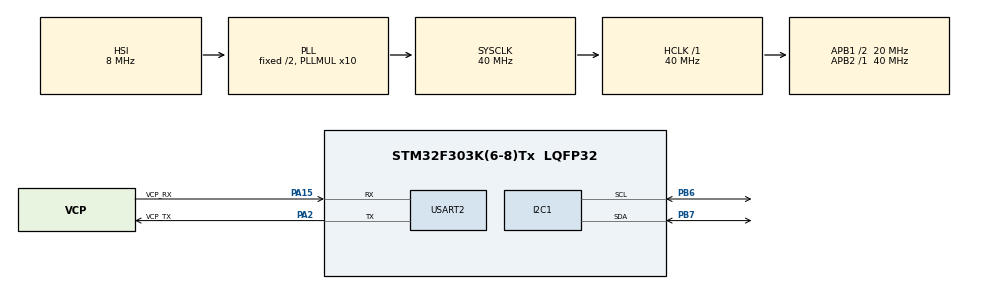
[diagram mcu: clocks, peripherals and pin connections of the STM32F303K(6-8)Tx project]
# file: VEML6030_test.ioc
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Mcu.Family=STM32F3
Mcu.Name=STM32F303K(6-8)Tx
Mcu.Package=LQFP32
NVIC.PriorityGroup=NVIC_PRIORITYGROUP_4
PA13.GPIO_Label=SWDIO
PA13.Mode=Serial_Wire
PA13.Signal=SYS_JTMS-SWDIO
PA14.GPIO_Label=SWCLK
PA14.Mode=Serial_Wire
PA14.Signal=SYS_JTCK-SWCLK
PA15.GPIO_Label=VCP_RX
PA15.Mode=Asynchronous
PA15.Signal=USART2_RX
PA2.GPIO_Label=VCP_TX
PA2.Mode=Asynchronous
PA2.Signal=USART2_TX
PB6.Mode=I2C
PB6.Signal=I2C1_SCL
PB7.Mode=I2C
PB7.Signal=I2C1_SDA
PF0\ /\ OSC_IN.GPIO_Label=MCO
PF0\ /\ OSC_IN.Mode=HSE-External-Clock-Source
PF0\ /\ OSC_IN.Signal=RCC_OSC_IN
ProjectManager.HeapSize=0x200
ProjectManager.StackSize=0x400
ProjectManager.TargetToolchain=STM32CubeIDE
RCC.AHBFreq_Value=40000000
RCC.APB1CLKDivider=RCC_HCLK_DIV2
RCC.APB1Freq_Value=20000000
RCC.APB1TimFreq_Value=40000000
RCC.APB2Freq_Value=40000000
RCC.APB2TimFreq_Value=40000000
RCC.CortexFreq_Value=40000000
RCC.HCLKFreq_Value=40000000
RCC.HSE_VALUE=8000000
RCC.HSI_VALUE=8000000
RCC.PLLMUL=RCC_PLL_MUL10
RCC.SYSCLKFreq_VALUE=40000000
RCC.SYSCLKSourceVirtual=RCC_SYSCLKSOURCE_PLLCLK
USART2.VirtualMode-Asynchronous=VM_ASYNC
board=NUCLEO-F303K8

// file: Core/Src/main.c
/* USER CODE BEGIN Header */
/**
 ******************************************************************************
 * @file           : main.c
 * @brief          : Main program body
 ******************************************************************************
 * @attention
 *
 * Copyright (c) 2024 STMicroelectronics.
 * All rights reserved.
 *
 * This software is licensed under terms that can be found in the LICENSE file
 * in the root directory of this software component.
 * If no LICENSE file comes with this software, it is provided AS-IS.
 *
 ******************************************************************************
 */
/* USER CODE END Header */
#include "main.h"

/* USER CODE BEGIN Includes */
#include <malloc.h>
#include "user_func.h"
#include "VEML6030.h"
/* USER CODE END Includes */

typedef enum {
  CYCLE_MAIN, CYCLE_SENSOR, CYCLE_LAST
} Cycle;
/* USER CODE END PTD */

I2C_HandleTypeDef hi2c1;

UART_HandleTypeDef huart2;

/* USER CODE BEGIN PV */
float g_lux = 0;
int i = 0;
/* USER CODE END PV */

void SystemClock_Config(void);
static void MX_GPIO_Init(void);
static void MX_USART2_UART_Init(void);
static void MX_I2C1_Init(void);

int main(void) {

  /* MCU Configuration--------------------------------------------------------*/

  /* Reset of all peripherals, Initializes the Flash interface and the Systick. */
  HAL_Init();

  /* Configure the system clock */
  SystemClock_Config();

  /* Initialize all configured peripherals */
  MX_GPIO_Init();
  MX_USART2_UART_Init();
  MX_I2C1_Init();
  /* USER CODE BEGIN 2 */
  if (VEML6030_init(&hi2c1, SENS_ADDR_1) != HAL_OK) {
    Error_Handler();
  }
  float *cycle_basis = calloc(sizeof(float), CYCLE_LAST);
  uint32_t *cycle_old = calloc(sizeof(float), CYCLE_LAST);
  cycle_basis[CYCLE_MAIN] = 1000 / 60;
  cycle_basis[CYCLE_SENSOR] = VEML6030_getIntTime(SENS_ADDR_1);
  /* USER CODE END 2 */

  /* Infinite loop */
  /* USER CODE BEGIN WHILE */
  while (1) {
    i++;
    if (CycleController(CYCLE_SENSOR, cycle_basis, cycle_old)) {
      g_lux = VEML6030_getLux(SENS_ADDR_1);
    }
    while (!CycleController(CYCLE_MAIN, cycle_basis, cycle_old)) {
      ;
    }
    /* USER CODE END WHILE */

  }
}

void SystemClock_Config(void) {
  RCC_OscInitTypeDef RCC_OscInitStruct = { 0 };
  RCC_ClkInitTypeDef RCC_ClkInitStruct = { 0 };
  RCC_PeriphCLKInitTypeDef PeriphClkInit = { 0 };

  /** Initializes the RCC Oscillators according to the specified parameters
   * in the RCC_OscInitTypeDef structure.
   */
  RCC_OscInitStruct.OscillatorType = RCC_OSCILLATORTYPE_HSI;
  RCC_OscInitStruct.HSIState = RCC_HSI_ON;
  RCC_OscInitStruct.HSICalibrationValue = RCC_HSICALIBRATION_DEFAULT;
  RCC_OscInitStruct.PLL.PLLState = RCC_PLL_ON;
  RCC_OscInitStruct.PLL.PLLSource = RCC_PLLSOURCE_HSI;
  RCC_OscInitStruct.PLL.PLLMUL = RCC_PLL_MUL10;
  if (HAL_RCC_OscConfig(&RCC_OscInitStruct) != HAL_OK) {
    Error_Handler();
  }

  /** Initializes the CPU, AHB and APB buses clocks
   */
  RCC_ClkInitStruct.ClockType = RCC_CLOCKTYPE_HCLK | RCC_CLOCKTYPE_SYSCLK
      | RCC_CLOCKTYPE_PCLK1 | RCC_CLOCKTYPE_PCLK2;
  RCC_ClkInitStruct.SYSCLKSource = RCC_SYSCLKSOURCE_PLLCLK;
  RCC_ClkInitStruct.AHBCLKDivider = RCC_SYSCLK_DIV1;
  RCC_ClkInitStruct.APB1CLKDivider = RCC_HCLK_DIV2;
  RCC_ClkInitStruct.APB2CLKDivider = RCC_HCLK_DIV1;

  if (HAL_RCC_ClockConfig(&RCC_ClkInitStruct, FLASH_LATENCY_1) != HAL_OK) {
    Error_Handler();
  }
  PeriphClkInit.PeriphClockSelection = RCC_PERIPHCLK_I2C1;
  PeriphClkInit.I2c1ClockSelection = RCC_I2C1CLKSOURCE_HSI;
  if (HAL_RCCEx_PeriphCLKConfig(&PeriphClkInit) != HAL_OK) {
    Error_Handler();
  }
}

static void MX_I2C1_Init(void) {

  hi2c1.Instance = I2C1;
  hi2c1.Init.Timing = 0x2000090E;
  hi2c1.Init.OwnAddress1 = 0;
  hi2c1.Init.AddressingMode = I2C_ADDRESSINGMODE_7BIT;
  hi2c1.Init.DualAddressMode = I2C_DUALADDRESS_DISABLE;
  hi2c1.Init.OwnAddress2 = 0;
  hi2c1.Init.OwnAddress2Masks = I2C_OA2_NOMASK;
  hi2c1.Init.GeneralCallMode = I2C_GENERALCALL_DISABLE;
  hi2c1.Init.NoStretchMode = I2C_NOSTRETCH_DISABLE;
  if (HAL_I2C_Init(&hi2c1) != HAL_OK) {
    Error_Handler();
  }

  /** Configure Analogue filter
   */
  if (HAL_I2CEx_ConfigAnalogFilter(&hi2c1, I2C_ANALOGFILTER_ENABLE) != HAL_OK) {
    Error_Handler();
  }

  /** Configure Digital filter
   */
  if (HAL_I2CEx_ConfigDigitalFilter(&hi2c1, 0) != HAL_OK) {
    Error_Handler();
  }

}

static void MX_USART2_UART_Init(void) {

  huart2.Instance = USART2;
  huart2.Init.BaudRate = 38400;
  huart2.Init.WordLength = UART_WORDLENGTH_8B;
  huart2.Init.StopBits = UART_STOPBITS_1;
  huart2.Init.Parity = UART_PARITY_NONE;
  huart2.Init.Mode = UART_MODE_TX_RX;
  huart2.Init.HwFlowCtl = UART_HWCONTROL_NONE;
  huart2.Init.OverSampling = UART_OVERSAMPLING_16;
  huart2.Init.OneBitSampling = UART_ONE_BIT_SAMPLE_DISABLE;
  huart2.AdvancedInit.AdvFeatureInit = UART_ADVFEATURE_NO_INIT;
  if (HAL_UART_Init(&huart2) != HAL_OK) {
    Error_Handler();
  }

}

static void MX_GPIO_Init(void) {

  /* GPIO Ports Clock Enable */
  __HAL_RCC_GPIOF_CLK_ENABLE();
  __HAL_RCC_GPIOA_CLK_ENABLE();
  __HAL_RCC_GPIOB_CLK_ENABLE();

}

void Error_Handler(void) {
  __disable_irq();
  while (1) {
  }
}
